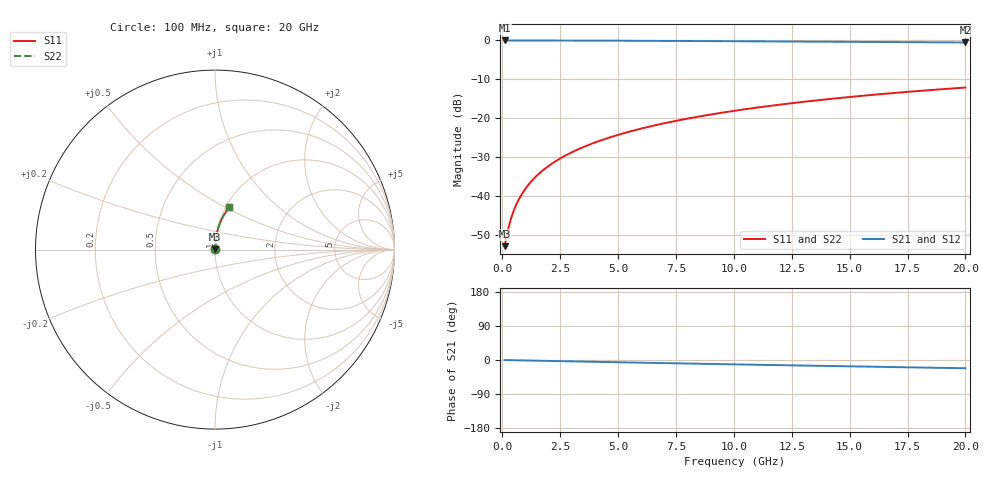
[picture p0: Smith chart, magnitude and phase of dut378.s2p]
! Touchstone file exported from HFSS 2024.1.0
!  File:  C:/UserFiles/LocalFiles/RDL_TSV_Batchsim/temp_RDL_top_378_1779609259.aedt
!  Generated:  03:56:42 PM May 24, 2026
!  Design:  RDL_top
!  Project:  temp_RDL_top_378_1779609259
!  Setup:  Setup1
!  Solution:  Sweep
! Variables:
!  dtsv = 10.80580581um
!  hbump = 3um
!  htsv = 74.81um
!  ldown = 100um
!  lrdl = 276.99um
!  p = 40
!  p1 = 42.67um
!  rhole = 1um
!  t = 450um
!  tdown = 3.915915916um
!  trdl = 3.67um
!  wdown = 15.38538539um
!  wrdl = 15.42um
# GHz S MA R 50.000000
! Terminal data exported
! Port[1] = Box2_T1
! Port[2] = Box2_T2
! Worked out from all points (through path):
!   200 points, 100 MHz to 20 GHz, reference 50 ohm
!   highest |S21| = -0.02 dB at 100 MHz (marker M1); lowest = -0.5 dB at 20 GHz (marker M2)
!   group delay of S21, straight-line fit = 3.01 ps
!   lowest |S11| = -52.8 dB at 100 MHz (marker M3), VSWR 1.00, Z = 50.2 + j0.13 ohm
!   |S11| at or under -10 dB: start of sweep to end of sweep
!   |S22| runs from -52.8 to -12.1 dB; largest |S21 - S12| = 3.4e-15
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0.1  0.00229 34.3  0.9981 -0.1  0.9981 -0.1  0.00229 34.3
! Gamma 0 0 0 0
! Port Impedance 50 0 50 0
0.2  0.003216 53.0  0.9981 -0.3  0.9981 -0.3  0.003216 53.0
0.3  0.004309 62.4  0.998 -0.4  0.998 -0.4  0.004309 62.4
0.4  0.005452 67.8  0.9979 -0.5  0.9979 -0.5  0.005452 67.8
0.5  0.006611 71.3  0.9978 -0.6  0.9978 -0.6  0.006611 71.3
0.6  0.007778 73.8  0.9978 -0.7  0.9978 -0.7  0.007777 73.8
0.8  0.01013 77.1  0.9976 -1.0  0.9976 -1.0  0.01013 77.1
1.1  0.01368 80.0  0.9974 -1.3  0.9974 -1.3  0.01368 80.0
1.5  0.01847 82.1  0.9971 -1.8  0.9971 -1.8  0.01847 82.1
1.8  0.02208 83.0  0.9968 -2.2  0.9968 -2.2  0.02208 83.0
2.1  0.02571 83.7  0.9964 -2.6  0.9964 -2.6  0.02571 83.7
2.7  0.033 84.4  0.9956 -3.3  0.9956 -3.3  0.033 84.4
3.5  0.0428 84.8  0.9942 -4.2  0.9942 -4.2  0.0428 84.8
4.2  0.05143 84.8  0.9928 -5.1  0.9928 -5.1  0.05143 84.8
5  0.06137 84.6  0.9909 -6.0  0.9909 -6.0  0.06137 84.6
5.9  0.07263 84.2  0.9886 -7.0  0.9886 -7.0  0.07263 84.2
6.8  0.08397 83.7  0.9861 -8.0  0.9861 -8.0  0.08396 83.7
8.3  0.103 82.6  0.9816 -9.7  0.9816 -9.7  0.103 82.6
10.1  0.1259 81.1  0.9758 -11.7  0.9758 -11.7  0.1259 81.1
13.4  0.1678 78.0  0.9646 -15.1  0.9646 -15.1  0.1678 78.0
16.7  0.2088 74.7  0.9527 -18.5  0.9527 -18.5  0.2088 74.7
20  0.2484 71.3  0.9401 -21.8  0.9401 -21.8  0.2484 71.3
